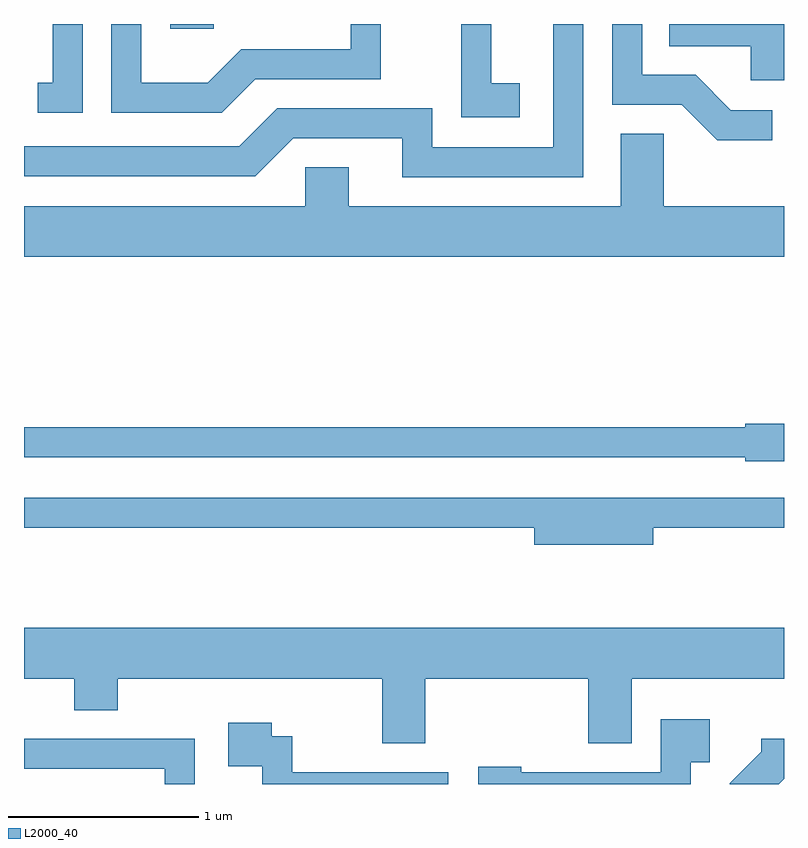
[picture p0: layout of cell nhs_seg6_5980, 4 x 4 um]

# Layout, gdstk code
import gdstk
lib = gdstk.Library(unit=1e-6, precision=1e-09)
def R(c, l, rs):  # rectangles x0, y0, x1, y1
    for r in rs: c.add(gdstk.rectangle(r[:2], r[2:], *l))
def P(c, l, *ps):  # polygons
    for p in ps: c.add(gdstk.Polygon(p, *l))
L2000_40 = (2000, 40)

nhs_seg6_5980 = lib.new_cell('nhs_seg6_5980')
R(nhs_seg6_5980, L2000_40, [(368.381,1540.136,368.609,1540.162)])
P(nhs_seg6_5980, L2000_40, [(370.219,1539.849),(370.069,1539.849),(370.069,1540.162),(369.911,1540.162),(369.911,1539.671),(370.219,1539.671)],
  [(368.827,1539.871),(369.489,1539.871),(369.489,1540.162),(369.331,1540.162),(369.331,1540.029),(368.754,1540.029),(368.579,1539.854),(368.229,1539.854),(368.229,1540.162),(368.071,1540.162),(368.071,1539.696),(368.652,1539.696)],
  [(371.548,1539.709),(371.332,1539.709),(371.147,1539.894),(370.864,1539.894),(370.864,1540.162),(370.706,1540.162),(370.706,1539.736),(371.074,1539.736),(371.259,1539.551),(371.548,1539.551)],
  [(367.919,1540.162),(367.761,1540.162),(367.761,1539.854),(367.683,1539.854),(367.683,1539.696),(367.919,1539.696)],
  [(370.554,1540.162),(370.396,1540.162),(370.396,1539.514),(369.759,1539.514),(369.759,1539.719),(368.944,1539.719),(368.744,1539.519),(367.611,1539.519),(367.611,1539.361),(368.827,1539.361),(369.027,1539.561),(369.601,1539.561),(369.601,1539.356),(370.554,1539.356)],
  [(371.611,1540.162),(371.008,1540.162),(371.008,1540.046),(371.436,1540.046),(371.436,1539.866),(371.611,1539.866)],
  [(371.611,1539.204),(370.979,1539.204),(370.979,1539.584),(370.751,1539.584),(370.751,1539.204),(369.319,1539.204),(369.319,1539.409),(369.091,1539.409),(369.091,1539.204),(367.611,1539.204),(367.611,1538.936),(371.611,1538.936)],
  [(371.611,1538.059),(371.406,1538.059),(371.406,1538.039),(367.611,1538.039),(367.611,1537.881),(371.406,1537.881),(371.406,1537.861),(371.611,1537.861)],
  [(370.924,1537.511),(371.611,1537.511),(371.611,1537.669),(367.611,1537.669),(367.611,1537.511),(370.296,1537.511),(370.296,1537.421),(370.924,1537.421)],
  [(369.724,1536.716),(370.581,1536.716),(370.581,1536.376),(370.809,1536.376),(370.809,1536.716),(371.611,1536.716),(371.611,1536.984),(367.611,1536.984),(367.611,1536.716),(367.876,1536.716),(367.876,1536.551),(368.104,1536.551),(368.104,1536.716),(369.496,1536.716),(369.496,1536.376),(369.724,1536.376)],
  [(371.119,1536.276),(371.219,1536.276),(371.219,1536.504),(370.961,1536.504),(370.961,1536.224),(370.229,1536.224),(370.229,1536.254),(370.001,1536.254),(370.001,1536.162),(371.119,1536.162)],
  [(369.844,1536.224),(369.024,1536.224),(369.024,1536.414),(368.914,1536.414),(368.914,1536.484),(368.686,1536.484),(368.686,1536.256),(368.866,1536.256),(368.866,1536.162),(369.844,1536.162)],
  [(368.509,1536.399),(367.611,1536.399),(367.611,1536.241),(368.351,1536.241),(368.351,1536.162),(368.509,1536.162)],
  [(371.611,1536.19),(371.611,1536.399),(371.491,1536.399),(371.491,1536.332),(371.326,1536.167),(371.326,1536.162),(371.583,1536.162)])

lib.write_gds('nhs_seg6_5980.gds')
